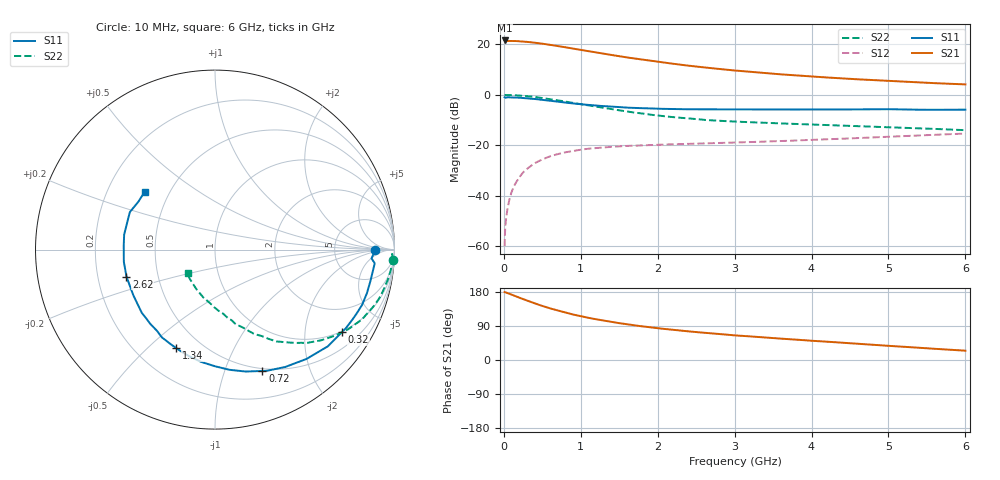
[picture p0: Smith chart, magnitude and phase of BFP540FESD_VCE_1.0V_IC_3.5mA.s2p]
! Infineon Technologies  Discrete & RF Semiconductors
! BFP540FESD
! VCE =  1.0 V,  IC =  3.5 mA
! Common Emitter S-Parameters:  Nov 2015
# GHz  S  MA  R  50
!  f  S11  S21  S12  S22
! GHz  MAG  ANG  MAG  ANG  MAG  ANG  MAG  ANG
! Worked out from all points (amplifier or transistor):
!   210 points, 10 MHz to 6 GHz, reference 50 ohm
!   highest |S21| = 21.5 dB at 10 MHz (marker M1)
!   |S21| within 3 dB of that: start of sweep to 856.7 MHz
!   unconditionally stable (mu >= 1): 2.985 GHz to end of sweep
!   at 185 MHz: K = 0.05, MSG = 27.4 dB, |S12| = -33.5 dB
!   at 1.52 GHz: K = 0.53, MSG = 17.8 dB, |S12| = -20.4 dB
!   at 6 GHz: K = 1.37, MAG = 6.1 dB, |S12| = -15.4 dB
!   S11 on the Smith chart (normalised r, x): 10 MHz: 18, -1; 320 MHz: 0.97, -3.11; 720 MHz: 0.47, -1.35; 1.34 GHz: 0.37, -0.62; 2.62 GHz: 0.33, -0.13; 6 GHz: 0.36, +0.32
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0.01  0.8926 -0.2  11.92 179.1  0.001 90.8  0.9913 -3.5
0.02  0.8736 -3.2  11.48 178.8  0.0026 86.4  0.9871 -1.4
0.05  0.8931 -4.9  11.66 176.5  0.0057 84.8  0.9876 -3.3
0.09  0.8864 -9.1  11.62 173.2  0.0105 86.6  0.9862 -5.9
0.15  0.8805 -16.1  11.63 168.6  0.0174 82.3  0.9775 -9.9
0.2  0.8755 -20.6  11.46 164.4  0.0227 79.4  0.9665 -13.1
0.32  0.8442 -32.9  11.08 155.5  0.0358 72.3  0.9326 -20.6
0.4  0.8281 -40.6  10.77 149.6  0.044 68.6  0.9068 -25.4
0.5  0.7943 -50.1  10.33 142.6  0.0523 63.4  0.864 -31.0
0.6  0.7622 -59.1  9.75 136.1  0.0603 59.3  0.8202 -35.9
0.72  0.7258 -68.7  9.139 129.6  0.0678 54.4  0.7684 -41.4
0.9  0.6744 -83.2  8.219 120.0  0.0773 48.8  0.69 -48.9
1.02  0.6453 -91.4  7.653 114.8  0.0823 45.5  0.6443 -53.1
1.2  0.6108 -103.8  6.862 107.4  0.0881 41.4  0.5805 -59.0
1.34  0.5895 -111.5  6.345 102.7  0.0918 38.8  0.5363 -62.9
1.7  0.5489 -131.1  5.231 91.4  0.0982 34.0  0.4433 -72.9
2.02  0.5281 -144.6  4.476 83.4  0.1023 31.5  0.3852 -79.7
2.62  0.5156 -163.1  3.462 71.6  0.1086 29.2  0.317 -91.7
3.1  0.5105 -174.4  2.939 63.7  0.1143 28.5  0.2901 -98.1
4.1  0.5122 169.1  2.25 49.6  0.1294 28.2  0.254 -110.8
5.1  0.5145 154.6  1.853 36.2  0.1495 26.0  0.2244 -123.9
6  0.5072 140.6  1.605 24.6  0.1703 23.3  0.1989 -139.6
